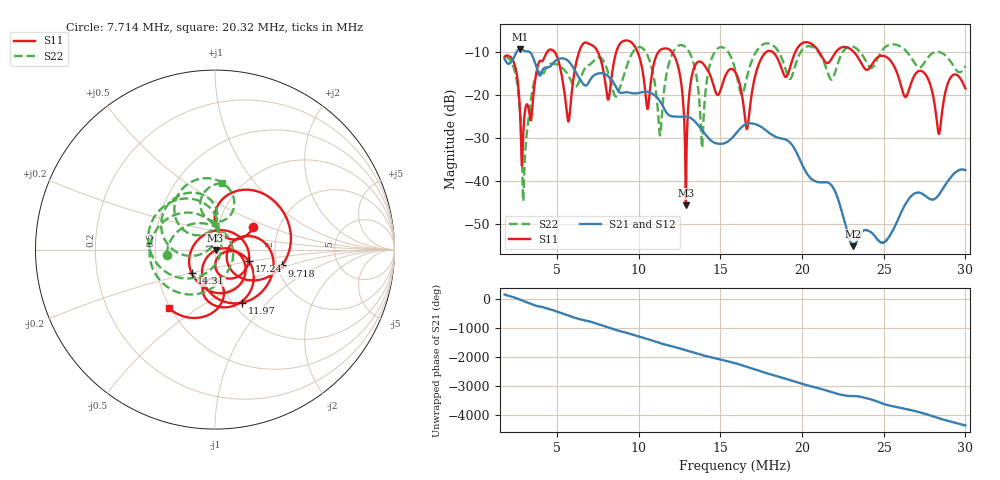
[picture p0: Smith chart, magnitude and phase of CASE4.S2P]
!Agilent Technologies,E5061B,MY49101568,A.02.00
!Date: Wed Mar 01 15:53:25 2023
!Data & Calibration Information:
!Freq	S11:SOLT2(OFF)	S21:SOLT2(OFF)	S12:SOLT2(OFF)	S22:SOLT2(OFF)
# Hz S dB R 50
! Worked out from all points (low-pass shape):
!   1155 points, 1.8 MHz to 30 MHz, reference 50 ohm
!   highest |S21| = -9.25 dB at 2.753 MHz (marker M1); lowest = -55.0 dB at 23.13 MHz (marker M2)
!   |S21| within 3 dB of the highest: 2.211 MHz to 3.645 MHz (1.434 MHz wide, 49 % of centre); 4.831 MHz to 5.759 MHz (928.1 kHz wide, 17.5 % of centre)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
!   lowest |S11| = -45.5 dB at 12.89 MHz (marker M3), VSWR 1.01, Z = 50.3 - j0.404 ohm
!   |S11| at or under -10 dB: start of sweep to 4.385 MHz; 12.06 MHz to 17.78 MHz (5.72 MHz wide, 38.3 % of centre); 23.2 MHz to end of sweep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
!   |S22| runs from -44.6 to -7.9 dB; largest |S21 - S12| = 0.0045
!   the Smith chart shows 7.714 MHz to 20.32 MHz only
!   S11 on the Smith chart (normalised r, x): 7.714 MHz: 1.48, +0.40; 9.718 MHz: 2.13, -0.44; 11.97 MHz: 1.10, -0.73; 14.31 MHz: 0.75, -0.20; 17.24 MHz: 1.45, -0.20; 20.32 MHz: 0.49, -0.39
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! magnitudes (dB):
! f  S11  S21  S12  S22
! 1.8 MHz  -11.0  -11.5  -11.4  -10.9
! 2.753 MHz  -24.6  -9.2  -9.2  -24.5
! 2.973 MHz  -26.8  -9.6  -9.6  -41.1
! 4.586 MHz  -9.3  -13.3  -13.3  -12.6
! 5.71 MHz  -26.1  -12.0  -12.0  -15.4
! 6.516 MHz  -8.5  -16.8  -16.8  -15.3
! 7.714 MHz  -12.1  -14.8  -14.8  -11.4
! 9.718 MHz  -8.3  -19.5  -19.5  -9.5
! 10.55 MHz  -23.2  -19.1  -19.2  -10.7
! 11.21 MHz  -9.9  -20.8  -20.8  -24.9
! 11.97 MHz  -9.6  -24.8  -24.8  -11.2
! 12.89 MHz  -45.5  -24.9  -25.0  -8.8
! 13.87 MHz  -12.3  -28.0  -28.0  -32.1
! 14.31 MHz  -14.7  -30.1  -30.1  -13.6
! 15.9 MHz  -14.5  -29.1  -29.2  -13.8
! 16.63 MHz  -27.8  -26.6  -26.6  -15.7
! 17.24 MHz  -14.0  -26.8  -26.9  -9.6
! 20.32 MHz  -7.6  -38.3  -38.3  -8.6
! 20.62 MHz  -8.1  -39.5  -39.5  -8.7
! 23.13 MHz  -9.7  -55.0  -54.9  -8.7
! 25.31 MHz  -11.5  -53.0  -53.0  -8.3
! 30 MHz  -18.4  -37.4  -37.3  -13.2
